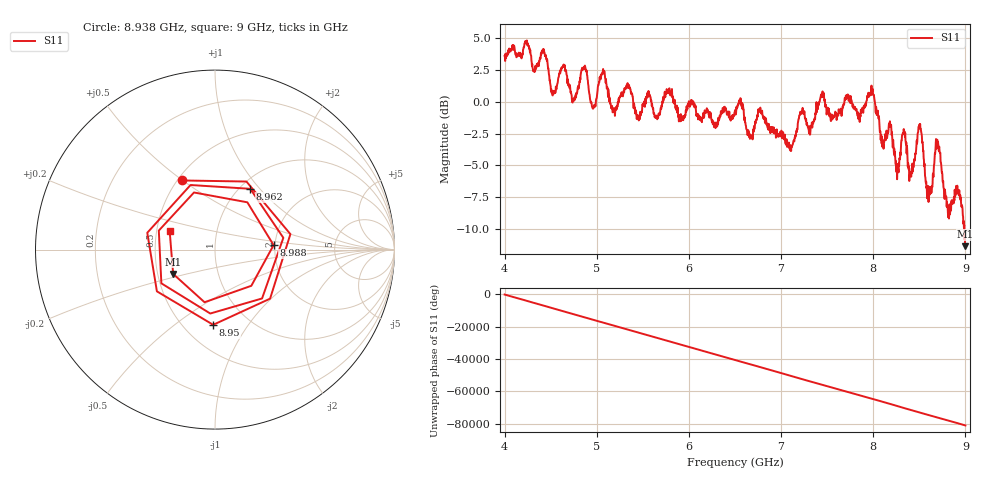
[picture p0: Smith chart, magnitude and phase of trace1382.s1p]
! Created with skrf 1.8.0 (http://scikit-rf.org).
# Hz S RI R 50.0
!freq ReS11 ImS11
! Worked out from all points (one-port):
!   1601 points, 4 GHz to 9 GHz, reference 50 ohm
!   lowest |S11| = -11.4 dB at 8.997 GHz (marker M1), VSWR 1.74, Z = 30.1 - j8.81 ohm
!   |S11| at or under -10 dB: 8.988768 GHz to end of sweep
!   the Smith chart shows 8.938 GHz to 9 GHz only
!   S11 on the Smith chart (normalised r, x): 8.938 GHz: 0.53, +0.50; 8.95 GHz: 0.69, -0.70; 8.962 GHz: 1.11, +0.89; 8.988 GHz: 1.97, +0.11; 9 GHz: 0.59, +0.13
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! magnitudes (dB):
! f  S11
! 4 GHz  3.6
! 4.425 GHz  3.9
! 4.528 GHz  0.7
! 4.625 GHz  2.7
! 4.75 GHz  0.1
! 4.859 GHz  2.7
! 4.959 GHz  -0.5
! 5.062 GHz  2.2
! 5.175 GHz  -0.8
! 5.25 GHz  0.4
! 5.875 GHz  -0.9
! 6.5 GHz  -0.7
! 7.125 GHz  -3.4
! 7.441 GHz  0.4
! 7.75 GHz  0.3
! 7.988 GHz  0.8
! 8.097 GHz  -3.5
! 8.375 GHz  -5.1
! 8.506 GHz  -2.1
! 8.597 GHz  -6.6
! 8.7 GHz  -3.2
! 8.809 GHz  -8.6
! 8.938 GHz  -7.4
! 8.95 GHz  -7.6
! 8.962 GHz  -8.1
! 8.988 GHz  -9.7
! 8.997 GHz  -11.4
! 9 GHz  -11.3
